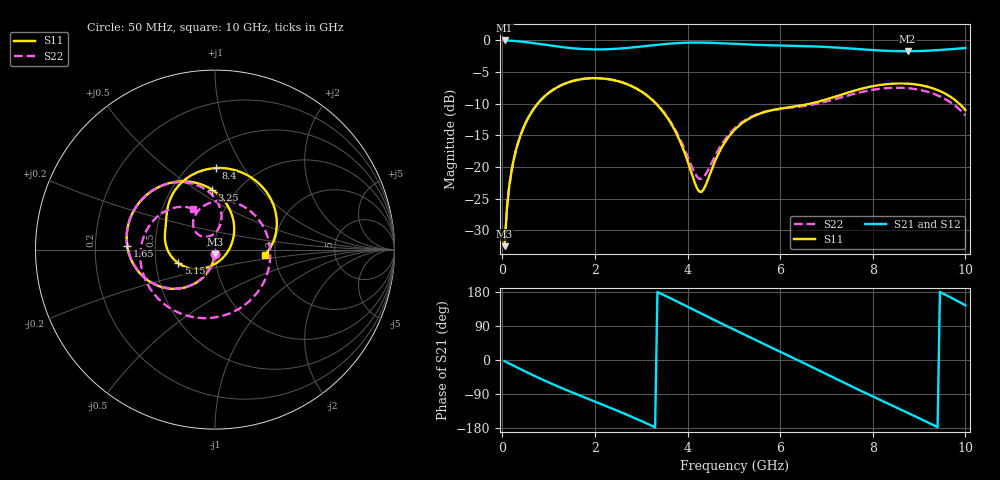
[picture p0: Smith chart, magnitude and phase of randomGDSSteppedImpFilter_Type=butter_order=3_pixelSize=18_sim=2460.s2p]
! freq	dB(S11)	phase(S11)	dB(S12)	phase(S12)
!  dB(S21)	phase(S21)	dB(S22)	phase(S22)
!S-par simulation data
#  GHz  S  DB  R 50
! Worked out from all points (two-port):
!   200 points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, 50 MHz to 10 GHz, reference 50 ohm
!   highest |S21| = -0.01 dB at 50 MHz (marker M1); lowest = -1.7 dB at 8.75 GHz (marker M2)
!   |S21| within 3 dB of the highest: start of sweep to end of sweep
!   lowest |S11| = -32.5 dB at 50 MHz (marker M3), VSWR 1.05, Z = 49.8 - j2.36 ohm
!   |S11| at or under -10 dB: start of sweep to 764 MHz; 3.32 GHz to 6.646 GHz (3.326 GHz wide, 66.7 % of centre); 9.867 GHz to end of sweep
!   |S22| runs from -32.5 to -6.0 dB; largest |S21 - S12| = 0
!   S11 on the Smith chart (normalised r, x): 50 MHz: 1.00, -0.05; 1.65 GHz: 0.34, +0.02; 3.25 GHz: 0.77, +0.58; 5.15 GHz: 0.65, -0.10; 8.4 GHz: 0.66, +0.76; 10 GHz: 1.77, -0.11
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0.05  -32.52 -93.2  -0.01 -3.2  -0.01 -3.2  -32.52 -93.2
0.1  -26.53 -96.4  -0.02 -6.3  -0.02 -6.3  -26.53 -96.4
0.2  -20.61 -102.7  -0.06 -12.5  -0.06 -12.5  -20.61 -102.8
0.5  -13.10 -121.0  -0.26 -30.6  -0.26 -30.6  -13.10 -121.2
1.05  -8.03 -151.9  -0.82 -61.7  -0.82 -61.7  -8.03 -152.5
1.65  -6.20 177.4  -1.32 -92.5  -1.32 -92.5  -6.19 176.8
1.75  -6.08 172.5  -1.36 -97.4  -1.36 -97.4  -6.08 171.9
2.5  -6.45 135.2  -1.31 -134.5  -1.31 -134.5  -6.43 135.4
3.25  -9.50 93.0  -0.77 -174.8  -0.77 -174.8  -9.44 98.6
3.4  -10.64 83.3  -0.65 176.6  -0.65 176.6  -10.56 91.7
3.8  -15.31 51.8  -0.42 152.9  -0.42 152.9  -15.02 78.2
4.25  -23.88 -32.9  -0.34 125.4  -0.34 125.4  -21.85 105.7
5.05  -13.89 -153.8  -0.56 77.5  -0.56 77.5  -13.67 125.1
5.15  -13.25 -159.6  -0.59 71.6  -0.59 71.6  -13.07 119.6
6  -10.79 165.2  -0.80 22.1  -0.80 22.1  -10.81 58.0
6.7  -9.91 148.3  -0.94 -19.4  -0.94 -19.4  -10.15 -7.4
7.55  -8.05 125.1  -1.30 -70.0  -1.30 -70.0  -8.54 -86.2
8.35  -6.88 91.8  -1.66 -116.2  -1.66 -116.2  -7.52 -146.0
8.4  -6.85 89.5  -1.67 -119.1  -1.67 -119.1  -7.50 -149.3
8.75  -6.84 72.0  -1.71 -139.1  -1.71 -139.1  -7.55 -171.8
9.4  -7.85 35.4  -1.54 -177.4  -1.54 -177.4  -8.68 149.4
10  -11.01 -5.7  -1.20 144.3  -1.20 144.3  -11.84 118.0
